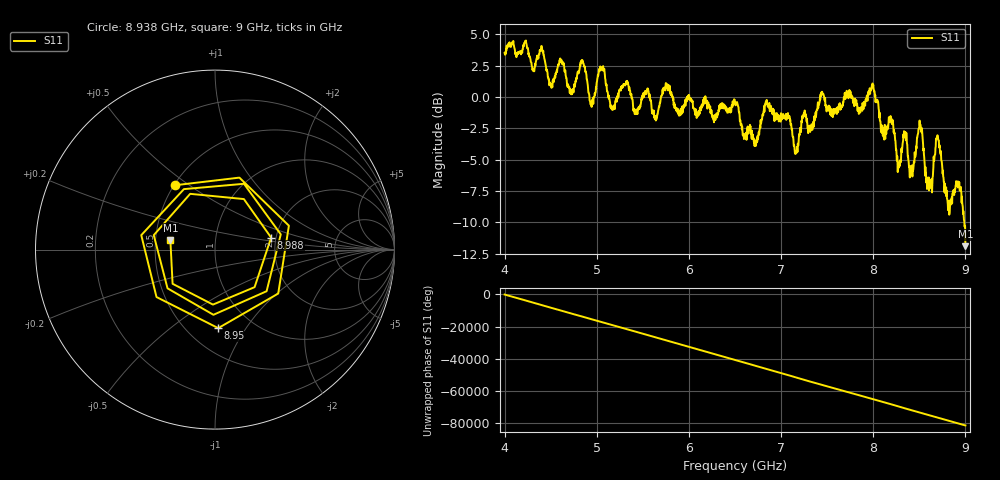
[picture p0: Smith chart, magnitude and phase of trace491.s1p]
! Created with skrf 1.8.0 (http://scikit-rf.org).
# Hz S RI R 50.0
!freq ReS11 ImS11
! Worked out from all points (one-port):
!   1601 points, 4 GHz to 9 GHz, reference 50 ohm
!   lowest |S11| = -11.9 dB at 9 GHz (marker M1), VSWR 1.68, Z = 30 + j3.32 ohm
!   |S11| at or under -10 dB: 8.988672 GHz to end of sweep
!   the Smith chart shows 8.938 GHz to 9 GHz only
!   S11 on the Smith chart (normalised r, x): 8.938 GHz: 0.50, +0.44; 8.95 GHz: 0.70, -0.76; 8.988 GHz: 1.88, +0.28; 9 GHz: 0.60, +0.07
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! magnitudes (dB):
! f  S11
! 4 GHz  3.5
! 4.403 GHz  4.1
! 4.503 GHz  0.9
! 4.625 GHz  2.7
! 4.725 GHz  0.5
! 4.847 GHz  2.9
! 4.944 GHz  -0.8
! 5.05 GHz  2.2
! 5.172 GHz  -0.9
! 5.25 GHz  0.5
! 5.875 GHz  -1.2
! 6.5 GHz  -0.5
! 6.603 GHz  -3.2
! 6.847 GHz  -0.5
! 7.125 GHz  -3.1
! 7.75 GHz  0.2
! 7.994 GHz  1.0
! 8.275 GHz  -5.7
! 8.375 GHz  -4.8
! 8.419 GHz  -5.5
! 8.509 GHz  -2.2
! 8.6 GHz  -7.0
! 8.7 GHz  -3.2
! 8.809 GHz  -8.5
! 8.938 GHz  -7.5
! 8.95 GHz  -7.2
! 8.988 GHz  -9.9
! 9 GHz  -11.9
